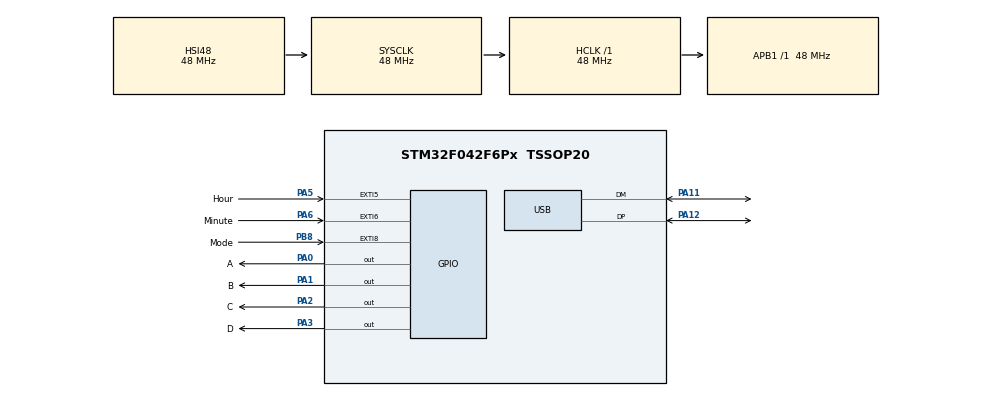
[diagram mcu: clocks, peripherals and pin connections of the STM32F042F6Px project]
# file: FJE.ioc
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Mcu.Family=STM32F0
VP_SYS_VS_PINREMAP.Mode=PINREMAP
USB_DEVICE.CLASS_NAME_FS=DFU
PA5.GPIO_ModeDefaultEXTI=GPIO_MODE_IT_FALLING
PA6.GPIO_ModeDefaultEXTI=GPIO_MODE_IT_FALLING
NVIC.USB_IRQn=true\:0\:0\:false\:false\:true\:false\:true
USB_DEVICE.VirtualModeFS=Dfu_FS
PA0.GPIO_Label=A
PB8.GPIO_PuPd=GPIO_PULLUP
VP_RTC_VS_RTC_Activate.Mode=RTC_Enabled
PA11.Mode=Device
PA6.GPIO_Label=Minute
VP_USB_DEVICE_VS_USB_DEVICE_DFU_FS.Mode=DFU_FS
RCC.SYSCLKSource=RCC_SYSCLKSOURCE_HSI48
ProjectManager.StackSize=0x400
PB8.GPIO_Label=Mode
PA12.Signal=USB_DP
PB8.GPIO_ModeDefaultEXTI=GPIO_MODE_IT_FALLING
ProjectManager.TargetToolchain=Makefile
RCC.HCLKFreq_Value=48000000
PA1.Signal=GPIO_Output
RCC.AHBFreq_Value=48000000
PA5.Signal=GPXTI5
board=custom
PA6.GPIO_PuPd=GPIO_PULLUP
PA5.GPIO_PuPd=GPIO_PULLUP
PA1.GPIO_Label=B
Mcu.Name=STM32F042F6Px
VP_TIM1_VS_ClockSourceINT.Mode=Internal
PA2.Signal=GPIO_Output
PA0.Signal=GPIO_Output
RCC.SYSCLKFreq_VALUE=48000000
Mcu.Package=TSSOP20
PA6.Signal=GPXTI6
PA12.Mode=Device
PA5.GPIO_Label=Hour
PA2.GPIO_Label=C
PA11.Signal=USB_DM
RTC.HourFormat=RTC_HOURFORMAT_12
ProjectManager.HeapSize=0x200
RCC.APB1TimFreq_Value=48000000
PB8.Signal=GPXTI8
RCC.APB1Freq_Value=48000000
USB_DEVICE.VirtualMode=Dfu
NVIC.TIM1_BRK_UP_TRG_COM_IRQn=true\:0\:0\:false\:false\:true\:true\:true
NVIC.EXTI4_15_IRQn=true\:0\:0\:false\:false\:true\:true\:true
PA3.GPIO_Label=D
PA3.Signal=GPIO_Output

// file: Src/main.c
/* USER CODE BEGIN Header */
/**
  ******************************************************************************
  * @file           : main.c
  * @brief          : Main program body
  ******************************************************************************
  * @attention
  *
  * <h2><center>&copy; Copyright (c) 2020 STMicroelectronics.
  * All rights reserved.</center></h2>
  *
  * This software component is licensed by ST under Ultimate Liberty license
  * SLA0044, the "License"; You may not use this file except in compliance with
  * the License. You may obtain a copy of the License at:
  *                             www.st.com/SLA0044
  *
  ******************************************************************************
  */
/* USER CODE END Header */

#include "main.h"
#include "usb_device.h"

/* USER CODE BEGIN Includes */
#include "charlie.c"
//#include "semihosting.c"

/* USER CODE END Includes */

RTC_HandleTypeDef hrtc;

TIM_HandleTypeDef htim1;

/* USER CODE BEGIN PV */

//void dance();

// Keep track of what dance we are on
int mamboNumber = 4;
// Stopper for the inturrupt funciton
int stopFlag = 0;
// Flag to switch to time
int hourFlag= 0;
int minuteFlag = 0;

// RTC defs
RTC_TimeTypeDef RTCtime;

/* USER CODE END PV */

void SystemClock_Config(void);
static void MX_GPIO_Init(void);
static void MX_RTC_Init(void);
static void MX_TIM1_Init(void);
/* USER CODE BEGIN PFP */

void dance();
/* USER CODE END PFP */

int main(void)
{

  /* MCU Configuration--------------------------------------------------------*/

  /* Reset of all peripherals, Initializes the Flash interface and the Systick. */
  HAL_Init();

  /* Configure the system clock */
  SystemClock_Config();

  /* Initialize all configured peripherals */
  MX_GPIO_Init();
  MX_USB_DEVICE_Init();
  MX_RTC_Init();
  MX_TIM1_Init();
  /* USER CODE BEGIN 2 */
  GPIO_InitTypeDef PinA = initA();
  GPIO_InitTypeDef PinB = initB();
  GPIO_InitTypeDef PinC = initC();
  GPIO_InitTypeDef PinD = initD();

  stopFlag = 0;
  int newMinutes = 0;
  int newHours = 0;

  /* USER CODE END 2 */

  /* Infinite loop */
  while (1)
  {

    /* USER CODE BEGIN 3 */

    // Ladies and gentlemen, this is Mambo Number Five
    if(mamboNumber == 5)
      clock(PinA, PinB, PinC, PinD, hrtc);

   // if(mamboNumber == 6)
   //   trySleep(PinA, PinB, PinC, PinD, hrtc);

    // Or not...
    else
       dance(PinA, PinB, PinC, PinD, mamboNumber);

    // Increase hour by one
    if(stopFlag == 1 && hourFlag == 1){
      HAL_StatusTypeDef res;
      // Make new values, I got an oblique warning that this was needed to avoid a bug
      RTC_TimeTypeDef newTime;
      RTC_DateTypeDef currentDate;
      RTC_TimeTypeDef currentTime;
      memset(&newTime, 0, sizeof(newTime));
      memset(&currentTime, 0, sizeof(currentTime));

      //say("In hour button\n");
      HAL_Delay(100);

      char buf[30];

      // Clear out our flags
      stopFlag =0;
      hourFlag =0;
      mamboNumber = 5;

      res = HAL_RTC_GetTime(&hrtc, &currentTime, RTC_FORMAT_BIN);
      // Weird. We dont care about the date but unless we touch the date the registers
      // for rtc time dont unlock...
      // You dont want to know how long I fought this
      res = HAL_RTC_GetDate(&hrtc, &currentDate, RTC_FORMAT_BIN);
      newHours = currentTime.Hours;
      sprintf(buf,"hour is %d \n", currentTime.Hours);
      //say(buf);

      if(newHours >12)
         newTime.Hours = 1;
      else
         newTime.Hours = ++newHours;

      newTime.Minutes = 0;
      newTime.Seconds = 0;

      res = HAL_RTC_SetTime(&hrtc, &newTime, RTC_FORMAT_BIN);
      if(res != 0){
         sprintf(buf,"Set hour time error is %d \n", res);
         //say(buf);
      }

    }

    // Increase minute by 10
    if(stopFlag == 1 && minuteFlag == 1){
      HAL_StatusTypeDef res;
      // Make new values, I got an oblique warning that this was needed to avoid a bug
      RTC_TimeTypeDef newTime;
      RTC_DateTypeDef currentDate;
      RTC_TimeTypeDef currentTime;
      //say("In minute button\n");
      HAL_Delay(100);
      char buf[30];

      // Clear out flags
      stopFlag =0;
      minuteFlag =0;
      mamboNumber = 5;

      res = HAL_RTC_GetTime(&hrtc, &currentTime, RTC_FORMAT_BIN);
      // Weird. We dont care about the date but unless we touch the date the registers
      // for rtc time dont unlock...
      // You dont want to know how long I fought this
      res = HAL_RTC_GetDate(&hrtc, &currentDate, RTC_FORMAT_BIN);

      newMinutes = currentTime.Minutes;

      newTime.Seconds = 0;

      if(newMinutes < 55){
         newTime.Minutes = (newMinutes + 5);
         newTime.Hours = currentTime.Hours;
      }
      else{
         newTime.Minutes = 0;
         newTime.Hours = (currentTime.Hours + 1);
      }

      sprintf(buf,"minute is %d \n", currentTime.Minutes);
      //say(buf);

      res = HAL_RTC_SetTime(&hrtc, &newTime, RTC_FORMAT_BIN);
      if(res != 0){
         sprintf(buf,"minute time error %d \n", res);
         //say(buf);
      }
    }

    // Switch mode
    if(stopFlag == 1){
    /*
      char buf[20];
      sprintf(buf,"We are in mode %d \n", mamboNumber);
      say(buf);
      */

      HAL_Delay(100);
      stopFlag =0;
      mamboNumber++;
      if(mamboNumber > 5)
         mamboNumber = 0;
    }
  }
  /* USER CODE END 3 */
}

void SystemClock_Config(void)
{
  RCC_OscInitTypeDef RCC_OscInitStruct = {0};
  RCC_ClkInitTypeDef RCC_ClkInitStruct = {0};
  RCC_PeriphCLKInitTypeDef PeriphClkInit = {0};

  /** Initializes the CPU, AHB and APB busses clocks
  */
  RCC_OscInitStruct.OscillatorType = RCC_OSCILLATORTYPE_HSI48|RCC_OSCILLATORTYPE_LSI;
  RCC_OscInitStruct.HSI48State = RCC_HSI48_ON;
  RCC_OscInitStruct.LSIState = RCC_LSI_ON;
  RCC_OscInitStruct.PLL.PLLState = RCC_PLL_NONE;
  if (HAL_RCC_OscConfig(&RCC_OscInitStruct) != HAL_OK)
  {
    Error_Handler();
  }
  /** Initializes the CPU, AHB and APB busses clocks
  */
  RCC_ClkInitStruct.ClockType = RCC_CLOCKTYPE_HCLK|RCC_CLOCKTYPE_SYSCLK
                              |RCC_CLOCKTYPE_PCLK1;
  RCC_ClkInitStruct.SYSCLKSource = RCC_SYSCLKSOURCE_HSI48;
  RCC_ClkInitStruct.AHBCLKDivider = RCC_SYSCLK_DIV1;
  RCC_ClkInitStruct.APB1CLKDivider = RCC_HCLK_DIV1;

  if (HAL_RCC_ClockConfig(&RCC_ClkInitStruct, FLASH_LATENCY_1) != HAL_OK)
  {
    Error_Handler();
  }
  PeriphClkInit.PeriphClockSelection = RCC_PERIPHCLK_USB|RCC_PERIPHCLK_RTC;
  PeriphClkInit.RTCClockSelection = RCC_RTCCLKSOURCE_LSI;
  PeriphClkInit.UsbClockSelection = RCC_USBCLKSOURCE_HSI48;

  if (HAL_RCCEx_PeriphCLKConfig(&PeriphClkInit) != HAL_OK)
  {
    Error_Handler();
  }
}

static void MX_RTC_Init(void)
{

  /** Initialize RTC Only
  */
  hrtc.Instance = RTC;
  hrtc.Init.HourFormat = RTC_HOURFORMAT_12;
  hrtc.Init.AsynchPrediv = 127;
  hrtc.Init.SynchPrediv = 255;
  hrtc.Init.OutPut = RTC_OUTPUT_DISABLE;
  hrtc.Init.OutPutPolarity = RTC_OUTPUT_POLARITY_HIGH;
  hrtc.Init.OutPutType = RTC_OUTPUT_TYPE_OPENDRAIN;
  if (HAL_RTC_Init(&hrtc) != HAL_OK)
  {
    Error_Handler();
  }

}

static void MX_TIM1_Init(void)
{

  TIM_ClockConfigTypeDef sClockSourceConfig = {0};
  TIM_MasterConfigTypeDef sMasterConfig = {0};

  htim1.Instance = TIM1;
  htim1.Init.Prescaler = 0;
  htim1.Init.CounterMode = TIM_COUNTERMODE_UP;
  htim1.Init.Period = 0;
  htim1.Init.ClockDivision = TIM_CLOCKDIVISION_DIV1;
  htim1.Init.RepetitionCounter = 0;
  htim1.Init.AutoReloadPreload = TIM_AUTORELOAD_PRELOAD_DISABLE;
  if (HAL_TIM_Base_Init(&htim1) != HAL_OK)
  {
    Error_Handler();
  }
  sClockSourceConfig.ClockSource = TIM_CLOCKSOURCE_INTERNAL;
  if (HAL_TIM_ConfigClockSource(&htim1, &sClockSourceConfig) != HAL_OK)
  {
    Error_Handler();
  }
  sMasterConfig.MasterOutputTrigger = TIM_TRGO_RESET;
  sMasterConfig.MasterSlaveMode = TIM_MASTERSLAVEMODE_DISABLE;
  if (HAL_TIMEx_MasterConfigSynchronization(&htim1, &sMasterConfig) != HAL_OK)
  {
    Error_Handler();
  }

}

static void MX_GPIO_Init(void)
{
  GPIO_InitTypeDef GPIO_InitStruct = {0};

  /* GPIO Ports Clock Enable */
  __HAL_RCC_GPIOB_CLK_ENABLE();
  __HAL_RCC_GPIOA_CLK_ENABLE();

  /*Configure GPIO pin Output Level */
  HAL_GPIO_WritePin(GPIOA, A_Pin|B_Pin|C_Pin|D_Pin, GPIO_PIN_RESET);

  /*Configure GPIO pin : Mode_Pin */
  GPIO_InitStruct.Pin = Mode_Pin;
  GPIO_InitStruct.Mode = GPIO_MODE_IT_FALLING;
  GPIO_InitStruct.Pull = GPIO_PULLUP;
  HAL_GPIO_Init(Mode_GPIO_Port, &GPIO_InitStruct);

  /*Configure GPIO pins : A_Pin B_Pin C_Pin D_Pin */
  GPIO_InitStruct.Pin = A_Pin|B_Pin|C_Pin|D_Pin;
  GPIO_InitStruct.Mode = GPIO_MODE_OUTPUT_PP;
  GPIO_InitStruct.Pull = GPIO_NOPULL;
  GPIO_InitStruct.Speed = GPIO_SPEED_FREQ_LOW;
  HAL_GPIO_Init(GPIOA, &GPIO_InitStruct);

  /*Configure GPIO pins : Hour_Pin Minute_Pin */
  GPIO_InitStruct.Pin = Hour_Pin|Minute_Pin;
  GPIO_InitStruct.Mode = GPIO_MODE_IT_FALLING;
  GPIO_InitStruct.Pull = GPIO_PULLUP;
  HAL_GPIO_Init(GPIOA, &GPIO_InitStruct);

  /* EXTI interrupt init*/
  HAL_NVIC_SetPriority(EXTI4_15_IRQn, 0, 0);
  HAL_NVIC_EnableIRQ(EXTI4_15_IRQn);

}

/* USER CODE BEGIN 4 */

/**
* @brief Interrupt callback for GPIOs
*/
void HAL_GPIO_EXTI_Callback(uint16_t GPIO_Pin)
{
    // Mode
    if ( GPIO_Pin == GPIO_PIN_8) {
      stopFlag = 1;
    }
    // Minute
    else if ( GPIO_Pin == GPIO_PIN_6) {
      stopFlag = 1;
      minuteFlag = 1;
    }
    // Hour
    else if ( GPIO_Pin == GPIO_PIN_5) {
      stopFlag = 1;
      hourFlag = 1;
    }

}

/*
void trySleep( GPIO_InitTypeDef PinA, GPIO_InitTypeDef PinB, GPIO_InitTypeDef PinC, GPIO_InitTypeDef PinD, RTC_HandleTypeDef whatTime){
   RTC_AlarmTypeDef AlarmSet;
   RTC_TimeTypeDef newTime;
   RTC_DateTypeDef currentDate;
   RTC_TimeTypeDef currentTime;
   memset(&newTime, 0, sizeof(newTime));
   memset(&currentTime, 0, sizeof(currentTime));

   HAL_RTC_GetTime(&hrtc, &currentTime, RTC_FORMAT_BIN);
   // Weird. We dont care about the date but unless we touch the date the registers
   // for rtc time dont unlock...
   // You dont want to know how long I fought this
   HAL_RTC_GetDate(&hrtc, &currentDate, RTC_FORMAT_BIN);

   newTime.Minutes = currentTime.Minutes;
   newTime.Seconds = (currentTime.Seconds +30);

   AlarmSet.AlarmTime = newTime;

//      HAL_RTC_SetTime(&hrtc, &newTime, RTC_FORMAT_BIN);

   HAL_RTC_SetAlarm_IT(&whatTime, &AlarmSet, RTC_FORMAT_BIN);
   say("Entering sleep mode");
   // Standby Sets all pins to High Z, which does weird things with the charlieplexing
   //HAL_PWR_EnterSTANDBYMode();

   HAL_PWR_EnterSTOPMode(PWR_LOWPOWERREGULATOR_ON, PWR_SLEEPENTRY_WFI);
   say("exiting sleep mode");
}

void StopOneSec(){
   RTC_AlarmTypeDef AlarmSet;
   RTC_TimeTypeDef newTime;
   RTC_DateTypeDef currentDate;
   RTC_TimeTypeDef currentTime;
   memset(&newTime, 0, sizeof(newTime));
   memset(&currentTime, 0, sizeof(currentTime));

   HAL_RTC_GetTime(&hrtc, &currentTime, RTC_FORMAT_BIN);
   // Weird. We dont care about the date but unless we touch the date the registers
   // for rtc time dont unlock...
   // You dont want to know how long I fought this
   HAL_RTC_GetDate(&hrtc, &currentDate, RTC_FORMAT_BIN);

   newTime.Minutes = currentTime.Minutes;
   newTime.Seconds = (currentTime.Seconds +1);

   AlarmSet.AlarmTime = newTime;

   HAL_RTC_SetAlarm_IT(&hrtc, &AlarmSet, RTC_FORMAT_BIN);

   // Standby Sets all pins to High Z, which does weird things with the charlieplexing
   //HAL_PWR_EnterSTANDBYMode();

   HAL_PWR_EnterSTOPMode(PWR_LOWPOWERREGULATOR_ON, PWR_SLEEPENTRY_WFI);
}
*/
/* USER CODE END 4 */

void Error_Handler(void)
{
}

/************************ (C) COPYRIGHT STMicroelectronics *****END OF FILE****/
